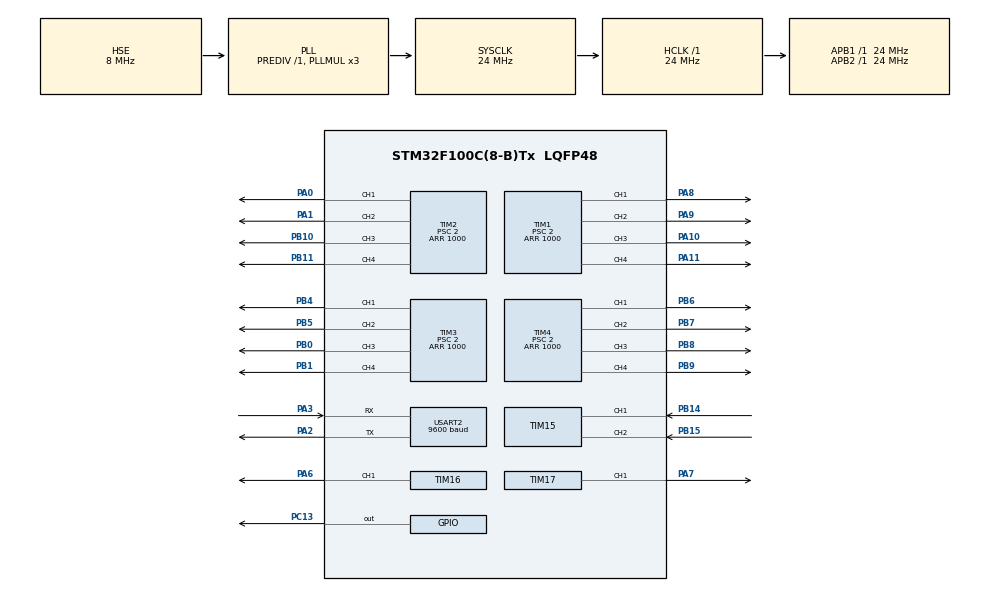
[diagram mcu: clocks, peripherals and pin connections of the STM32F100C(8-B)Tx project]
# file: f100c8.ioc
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Dma.Request0=USART2_RX
Dma.Request1=USART2_TX
Dma.USART2_RX.0.Direction=DMA_PERIPH_TO_MEMORY
Dma.USART2_RX.0.Instance=DMA1_Channel6
Dma.USART2_RX.0.MemDataAlignment=DMA_MDATAALIGN_BYTE
Dma.USART2_RX.0.MemInc=DMA_MINC_ENABLE
Dma.USART2_RX.0.Mode=DMA_NORMAL
Dma.USART2_RX.0.PeriphDataAlignment=DMA_PDATAALIGN_BYTE
Dma.USART2_RX.0.PeriphInc=DMA_PINC_DISABLE
Dma.USART2_RX.0.Priority=DMA_PRIORITY_LOW
Dma.USART2_TX.1.Direction=DMA_MEMORY_TO_PERIPH
Dma.USART2_TX.1.Instance=DMA1_Channel7
Dma.USART2_TX.1.MemDataAlignment=DMA_MDATAALIGN_BYTE
Dma.USART2_TX.1.MemInc=DMA_MINC_ENABLE
Dma.USART2_TX.1.Mode=DMA_NORMAL
Dma.USART2_TX.1.PeriphDataAlignment=DMA_PDATAALIGN_BYTE
Dma.USART2_TX.1.PeriphInc=DMA_PINC_DISABLE
Dma.USART2_TX.1.Priority=DMA_PRIORITY_LOW
Mcu.Family=STM32F1
Mcu.Name=STM32F100C(8-B)Tx
Mcu.Package=LQFP48
NVIC.DMA1_Channel6_IRQn=true\:0\:0\:false\:false\:true\:false\:true\:true
NVIC.DMA1_Channel7_IRQn=true\:0\:0\:false\:false\:true\:false\:true\:true
NVIC.PriorityGroup=NVIC_PRIORITYGROUP_4
NVIC.TIM6_DAC_IRQn=true\:0\:0\:false\:false\:true\:true\:true\:true
NVIC.USART2_IRQn=true\:0\:0\:false\:false\:true\:true\:true\:true
PA0-WKUP.Signal=S_TIM2_CH1_ETR
PA1.Signal=S_TIM2_CH2
PA10.Signal=S_TIM1_CH3
PA11.Signal=S_TIM1_CH4
PA13.Mode=Serial_Wire
PA13.Signal=SYS_JTMS-SWDIO
PA14.Mode=Serial_Wire
PA14.Signal=SYS_JTCK-SWCLK
PA2.Mode=Asynchronous
PA2.Signal=USART2_TX
PA3.Mode=Asynchronous
PA3.Signal=USART2_RX
PA6.Signal=S_TIM16_CH1
PA7.Signal=S_TIM17_CH1
PA8.Signal=S_TIM1_CH1
PA9.Signal=S_TIM1_CH2
PB0.Signal=S_TIM3_CH3
PB1.Signal=S_TIM3_CH4
PB10.Signal=S_TIM2_CH3
PB11.Signal=S_TIM2_CH4
PB14.Signal=S_TIM15_CH1
PB15.Signal=S_TIM15_CH2
PB4.Signal=S_TIM3_CH1
PB5.Signal=S_TIM3_CH2
PB6.Signal=S_TIM4_CH1
PB7.Signal=S_TIM4_CH2
PB8.Signal=S_TIM4_CH3
PB9.Signal=S_TIM4_CH4
PC13-TAMPER-RTC.Signal=GPIO_Output
PD0-OSC_IN.Mode=HSE-External-Oscillator
PD0-OSC_IN.Signal=RCC_OSC_IN
PD1-OSC_OUT.Mode=HSE-External-Oscillator
PD1-OSC_OUT.Signal=RCC_OSC_OUT
ProjectManager.HeapSize=0x200
ProjectManager.StackSize=0x400
ProjectManager.TargetToolchain=STM32CubeIDE
RCC.AHBFreq_Value=24000000
RCC.APB1Freq_Value=24000000
RCC.APB1TimFreq_Value=24000000
RCC.APB2Freq_Value=24000000
RCC.APB2TimFreq_Value=24000000
RCC.HCLKFreq_Value=24000000
RCC.PLLMUL=RCC_PLL_MUL3
RCC.PLLSource=RCC_PLLSOURCE_HSE
RCC.SYSCLKFreq_VALUE=24000000
RCC.SYSCLKSource=RCC_SYSCLKSOURCE_PLLCLK
SH.S_TIM15_CH1.0=TIM15_CH1,Input_Capture1_from_TI1
SH.S_TIM15_CH2.0=TIM15_CH2,Input_Capture2_from_TI2
SH.S_TIM16_CH1.0=TIM16_CH1,PWM Generation1 CH1
SH.S_TIM17_CH1.0=TIM17_CH1,PWM Generation1 CH1
SH.S_TIM1_CH1.0=TIM1_CH1,PWM Generation1 CH1
SH.S_TIM1_CH2.0=TIM1_CH2,PWM Generation2 CH2
SH.S_TIM1_CH3.0=TIM1_CH3,PWM Generation3 CH3
SH.S_TIM1_CH4.0=TIM1_CH4,PWM Generation4 CH4
SH.S_TIM2_CH1_ETR.0=TIM2_CH1,PWM Generation1 CH1
SH.S_TIM2_CH2.0=TIM2_CH2,PWM Generation2 CH2
SH.S_TIM2_CH3.0=TIM2_CH3,PWM Generation3 CH3
SH.S_TIM2_CH4.0=TIM2_CH4,PWM Generation4 CH4
SH.S_TIM3_CH1.0=TIM3_CH1,PWM Generation1 CH1
SH.S_TIM3_CH2.0=TIM3_CH2,PWM Generation2 CH2
SH.S_TIM3_CH3.0=TIM3_CH3,PWM Generation3 CH3
SH.S_TIM3_CH4.0=TIM3_CH4,PWM Generation4 CH4
SH.S_TIM4_CH1.0=TIM4_CH1,PWM Generation1 CH1
SH.S_TIM4_CH2.0=TIM4_CH2,PWM Generation2 CH2
SH.S_TIM4_CH3.0=TIM4_CH3,PWM Generation3 CH3
SH.S_TIM4_CH4.0=TIM4_CH4,PWM Generation4 CH4
TIM1.Channel-PWM\ Generation1\ CH1=TIM_CHANNEL_1
TIM1.Channel-PWM\ Generation2\ CH2=TIM_CHANNEL_2
TIM1.Channel-PWM\ Generation3\ CH3=TIM_CHANNEL_3
TIM1.Channel-PWM\ Generation4\ CH4=TIM_CHANNEL_4
TIM1.Period=1000
TIM1.Prescaler=2
TIM15.Channel-Input_Capture1_from_TI1=TIM_CHANNEL_1
TIM15.Channel-Input_Capture2_from_TI2=TIM_CHANNEL_2
TIM16.Channel=TIM_CHANNEL_1
TIM16.Period=1000
TIM16.Prescaler=2
TIM17.Channel=TIM_CHANNEL_1
TIM17.Period=1000
TIM17.Prescaler=2
TIM2.Channel-PWM\ Generation1\ CH1=TIM_CHANNEL_1
TIM2.Channel-PWM\ Generation2\ CH2=TIM_CHANNEL_2
TIM2.Channel-PWM\ Generation3\ CH3=TIM_CHANNEL_3
TIM2.Channel-PWM\ Generation4\ CH4=TIM_CHANNEL_4
TIM2.Period=1000
TIM2.Prescaler=2
TIM3.Channel-PWM\ Generation1\ CH1=TIM_CHANNEL_1
TIM3.Channel-PWM\ Generation2\ CH2=TIM_CHANNEL_2
TIM3.Channel-PWM\ Generation3\ CH3=TIM_CHANNEL_3
TIM3.Channel-PWM\ Generation4\ CH4=TIM_CHANNEL_4
TIM3.Period=1000
TIM3.Prescaler=2
TIM4.Channel-PWM\ Generation1\ CH1=TIM_CHANNEL_1
TIM4.Channel-PWM\ Generation2\ CH2=TIM_CHANNEL_2
TIM4.Channel-PWM\ Generation3\ CH3=TIM_CHANNEL_3
TIM4.Channel-PWM\ Generation4\ CH4=TIM_CHANNEL_4
TIM4.Period=1000
TIM4.Prescaler=2
TIM6.Period=63999
TIM6.Prescaler=374
USART2.BaudRate=9600
USART2.VirtualMode=VM_ASYNC
VP_TIM16_VS_ClockSourceINT.Mode=Enable_Timer
VP_TIM17_VS_ClockSourceINT.Mode=Enable_Timer
VP_TIM1_VS_ClockSourceINT.Mode=Internal
VP_TIM6_VS_ClockSourceINT.Mode=Enable_Timer
board=custom

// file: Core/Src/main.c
/* USER CODE BEGIN Header */
/**
  ******************************************************************************
  * @file           : main.c
  * @brief          : Main program body
  ******************************************************************************
  * @attention
  *
  * Copyright (c) 2023 STMicroelectronics.
  * All rights reserved.
  *
  * This software is licensed under terms that can be found in the LICENSE file
  * in the root directory of this software component.
  * If no LICENSE file comes with this software, it is provided AS-IS.
  *
  ******************************************************************************
  */
/* USER CODE END Header */
#include "main.h"

/* USER CODE BEGIN Includes */
#include "Programs.h"
#include "string.h"
#include "stdio.h"
/* USER CODE END Includes */

/* USER CODE BEGIN PTD */

int a1,a2,a3;
 uint16_t tempduty=0,motorduty=0;
uint16_t timerx=0,alarmt=0,timer,sa;
uint16_t total_time=0;
uint8_t start=0,saniye,dakika,saat;
extern stopf;

Control ms;
Control mst;

uint16_t isi=0;
uint16_t hız=0;
uint16_t darbes=0;
uint16_t darber=0;
uint8_t pFlag=0;
uint8_t delay1=0;
uint8_t delay2=0;

#define RxBuffer_Size1 10
#define RxBuffer_Size 60
uint8_t RxBuf [RxBuffer_Size];
uint8_t RxBuf1 [RxBuffer_Size1];

/* USER CODE END PTD */
char str[80];

TIM_HandleTypeDef htim1;
TIM_HandleTypeDef htim2;
TIM_HandleTypeDef htim3;
TIM_HandleTypeDef htim4;
TIM_HandleTypeDef htim6;
TIM_HandleTypeDef htim15;
TIM_HandleTypeDef htim16;
TIM_HandleTypeDef htim17;

UART_HandleTypeDef huart2;
DMA_HandleTypeDef hdma_usart2_rx;
DMA_HandleTypeDef hdma_usart2_tx;

/* USER CODE BEGIN PV */

#ifdef __GNUC__
#define PUTCHAR_PROTOTYPE int __io_putchar(int ch)
#else
#define PUTCHAR_PROTOTYPE int fputc(int ch, FILE *f)
#endif

/* USER CODE END PV */

void SystemClock_Config(void);
static void MX_GPIO_Init(void);
static void MX_DMA_Init(void);
static void MX_TIM1_Init(void);
static void MX_TIM2_Init(void);
static void MX_TIM3_Init(void);
static void MX_TIM4_Init(void);
static void MX_TIM15_Init(void);
static void MX_TIM16_Init(void);
static void MX_TIM17_Init(void);
static void MX_USART2_UART_Init(void);
static void MX_TIM6_Init(void);
/* USER CODE BEGIN PFP */

PUTCHAR_PROTOTYPE
{
  HAL_UART_Transmit(&huart2, (uint8_t *)&ch, 1,HAL_MAX_DELAY);
  return ch;
}
/* USER CODE END PFP */

/* USER CODE BEGIN 0 */

void HAL_UARTEx_RxEventCallback(UART_HandleTypeDef *huart, uint16_t Size){

 if (huart-> Instance==USART2) {

		  HAL_UARTEx_ReceiveToIdle_DMA(&huart2, RxBuf, RxBuffer_Size);
		  __HAL_DMA_DISABLE_IT(&hdma_usart2_rx,DMA_IT_HT); //Buffer alınırken yarıda kesmeye gitmesin diyeyapılmış işlemi.

		    for (int i  = Size;  i<RxBuffer_Size; i++ ) { //BUFFER ESKİLERİ SİLME
		  				   			  RxBuf[i]=0;	}
 }

 if (RxBuf[0]=='M' && RxBuf[1]=='D'){
	 selectmotorduty();
	 RxBuf[0]=0;
	 RxBuf[1]=0;
	 RxBuf[2]=0;
	HAL_UART_Transmit_DMA(&huart2, "OK\n\r", 4);
	printf("Motor Speed=%d",motorduty);

 }

if (RxBuf[0]=='T' && RxBuf[1]=='D'){
		 selecttempduty();
		  RxBuf[0]=0;
		  RxBuf[1]=0;
		  RxBuf[2]=0;
		HAL_UART_Transmit_DMA(&huart2, "OK\n\r", 4);
		printf("Motor Speed=%d",tempduty);
}

}

void HAL_TIM_PeriodElapsedCallback(TIM_HandleTypeDef *htim)
{
	if(htim->Instance==htim6.Instance){
		timerx++;

     if(start==1)
	    {
    	 pFlag=0;
	      timer--;

		    if(timer==0)
			    {
			              timer=0 ;
			              start=0;
			    }
		    printf("Kalan süre= %d\n", timer);
	    }

     if(pFlag==1)
	    {
    	  start=2;
	      timer--;

		    if(timer==0)
			    {
			              timer=0;
			              pFlag=0;
			    }
		    sprintf(str, "Kalan süre= %d\n", timer);
		    HAL_UART_Transmit_DMA(&huart2, str, strlen(str));

	    }

    }

}

void programselected(){

	 // motor seçimi
	 uint16_t amask=0b1110000000000000;
	 uint16_t amast=0b0001111111111111;
	 a1 =RxBuf[2];
	 a1=a1<<8;
	 a1=a1+RxBuf[3];
	 ms.MotorSayi=a1 & amast;  //sadece motor kontroll değişkneleri
	 mst.MotorSayi=a1 & amask; //sadece ısıtıcı değişkenleri

	  if(RxBuf[4]==0){
		  a2=0;
	  }
	  else if(RxBuf[4]==1) {
		  a2=500;
	  } else if(RxBuf[4]==2) {
		  a2=550;
	  } else if(RxBuf[4]==3) {
		  a2=600;
	  } else if(RxBuf[4]==4) {
		  a2=700;
	  } else if(RxBuf[4]==5) {
		  a2=750;
	  }   else if(RxBuf[4]==6) {
		  a2=800;
	  }    else if(RxBuf[4]==6) {
		  a2=850;
	  }    else if(RxBuf[4]==8) {
		  a2=900;
	  }   else if(RxBuf[4]==9) {
		  a2=950;
	  }    else if(RxBuf[4]==10) {
		  a2=1000;
	  }
	  else  ;

	  if(RxBuf[5]==0){
		  a3=0;
	  }
	  else if(RxBuf[5]==1) {
		  a3=500;
	  } else if(RxBuf[5]==2) {
		  a3=550;
	  } else if(RxBuf[5]==3) {
		  a3=600;
	  } else if(RxBuf[5]==4) {
		  a3=700;
	  } else if(RxBuf[5]==5) {
		  a3=750;
	  }   else if(RxBuf[5]==6) {
		  a3=800;
	  }    else if(RxBuf[5]==6) {
		  a3=850;
	  }    else if(RxBuf[5]==8) {
		  a3=900;
	  }   else if(RxBuf[5]==9) {
		  a3=950;
	  }    else if(RxBuf[5]==10) {
		  a3=1000;
	  }
	  else  ;

	  //------------------------------------ Delayed Seçimileri---------------------------------/
	  if(RxBuf[7]==0){
		 delay1=0;
		 delay2=0;
	  }
	  else if(RxBuf[7]==1) {
			 delay1=1;
			 delay2=1;
	  } else if(RxBuf[7]==2) {
			 delay1=2;
			 delay2=2;
	  } else if(RxBuf[7]==3) {
			 delay1=1;
			 delay2=4;
	  } else if(RxBuf[7]==4) {
			 delay1=1;
			 delay2=3;
	  } else if(RxBuf[7]==5) {
			 delay1=1;
			 delay2=2;
	  }   else if(RxBuf[7]==6) {
			 delay1=0;
			 delay2=0;
	  }    else if(RxBuf[7]==6) {
			 delay1=0;
			 delay2=0;
	  }    else if(RxBuf[7]==8) {
			 delay1=0;
			 delay2=0;
	  }   else if(RxBuf[7]==9) {
			 delay1=0;
			 delay2=0;
	  }    else if(RxBuf[7]==10) {
			 delay1=0;
			 delay2=0;
	  }
	  else  ;

	 ms.MotorDuty=a2;
	 mst.TempDuty=a3;
	 Pwm_Start(mst);
     Pwm_Start(ms);

}

void standarprgslctd(){

		  if(RxBuf[8]==0){                 //motorlar için duty seçimi
			  motorduty=0;
		  }
		  else if(RxBuf[8]==1) {
			  motorduty=500;
		  } else if(RxBuf[8]==2) {
			  motorduty=550;
		  } else if(RxBuf[8]==3) {
			  motorduty=600;
		  } else if(RxBuf[8]==4) {
			  motorduty=700;
		  } else if(RxBuf[8]==5) {
			  motorduty=750;
		  } else if(RxBuf[8]==6) {
			  motorduty=800;
		  } else if(RxBuf[8]==7) {
			  motorduty=850;
		  } else if(RxBuf[8]==8) {
			  motorduty=900;
		  } else if(RxBuf[8]==9) {
			  motorduty=950;
		  } else if(RxBuf[8]==10) {
			  motorduty=1000;
		  }
		  else {
			  motorduty=500;
		  }

		  if(RxBuf[9]==0){                  //Isıstıcı için duty seçimi
		 				  tempduty=0;
		 			  }
		 			    else if(RxBuf[9]==1) {
		 				  tempduty=500;
		 			  } else if(RxBuf[9]==2) {
		 				  tempduty=550;
		 			  } else if(RxBuf[9]==3) {
		 				  tempduty=600;
		 			  } else if(RxBuf[9]==4) {
		 				  tempduty=700;
		 			  } else if(RxBuf[9]==5) {
		 				  tempduty=750;
		 			  } else if(RxBuf[9]==6) {
		 				  tempduty=800;
		 			  } else if(RxBuf[9]==7) {
		 				  tempduty=850;
		 			  } else if(RxBuf[9]==8) {
		 				  tempduty=900;
		 			  } else if(RxBuf[9]==9) {
		 				  tempduty=950;
		 			  } else if(RxBuf[9]==10) {
		 				  tempduty=1000;
		 			  }
		 		   else{
		 			     tempduty=500;
		 			  }

}

void selectmotorduty(){

	  if(RxBuf[2]==0){                 //motorlar için duty seçimi
		  motorduty=0;
	  }
	  else if(RxBuf[2]==1) {
		  motorduty=500;
	  } else if(RxBuf[2]==2) {
		  motorduty=550;
	  } else if(RxBuf[2]==3) {
		  motorduty=600;
	  } else if(RxBuf[2]==4) {
		  motorduty=700;
	  } else if(RxBuf[2]==5) {
		  motorduty=750;
	  } else if(RxBuf[2]==6) {
		  motorduty=800;
	  } else if(RxBuf[2]==7) {
		  motorduty=850;
	  } else if(RxBuf[2]==8) {
		  motorduty=900;
	  } else if(RxBuf[2]==9) {
		  motorduty=950;
	  } else if(RxBuf[2]==10) {
		  motorduty=1000;
	  }
	  else {
		  motorduty=500;
	  }
	  printf("Motor char=%d",RxBuf[2]);

}

void selecttempduty(){
	 if(RxBuf[2]==0){                  //Isıstıcı için duty seçimi
				  tempduty=0;
			  }
			    else if(RxBuf[2]==1) {
				  tempduty=500;
			  } else if(RxBuf[2]==2) {
				  tempduty=550;
			  } else if(RxBuf[2]==3) {
				  tempduty=600;
			  } else if(RxBuf[2]==4) {
				  tempduty=700;
			  } else if(RxBuf[2]==5) {
				  tempduty=750;
			  } else if(RxBuf[2]==6) {
				  tempduty=800;
			  } else if(RxBuf[2]==7) {
				  tempduty=850;
			  } else if(RxBuf[2]==8) {
				  tempduty=900;
			  } else if(RxBuf[2]==9) {
				  tempduty=950;
			  } else if(RxBuf[2]==10) {
				  tempduty=1000;
			  }
		   else{
			     tempduty=500;
			  }

}

void standart(){

	 //dogrulma komutu ve timer sıfırlama...
		  if(RxBuf[0]=='R' && RxBuf[1]=='S'&& RxBuf[2]=='T')
		  { RxBuf[0]=0;
		    RxBuf[1]=0;
		    RxBuf[2]=0;
		    timerx=0;
		    pFlag=0;
		    HAL_UART_Transmit_DMA(&huart2, "OK\n\r", 4);
		  }

		  //Tüm sistemi durdurma...
		  if(RxBuf[0]=='S' && RxBuf[1]=='T'&& RxBuf[2]=='P')
		 	  {
			   stop:
		 	   start=0;
		 	   timer=0;
			   HAL_UART_Transmit_DMA(&huart2, "OK\n\r", 4);
			   a1=0b1111111111111111;  //Tüm sistem pin seçildi
		 	   a2=0;                   //duty sıfırlandı
		 	   ms.MotorSayi=a1;
		 	   ms.MotorDuty=a2;
		 	   ms.TempDuty=a2;
		 	   Pwm_Start(ms);

		 	   pFlag=0;
		 	   timerx=0;

		 	   RxBuf[0]=0;
		 	   RxBuf[1]=0;
		 	   RxBuf[2]=0;

		 	 }

		  //Tüm sistemi aktif test...
		  if(RxBuf[0]=='T' && RxBuf[1]=='S'&& RxBuf[2]=='1')
		 	  {
			    RxBuf[0]=0;
			    RxBuf[1]=0;
			    RxBuf[2]=0;

			   a1=0b1111111111111111;  //Tüm sistem pin seçildi
		 	   a2=700;                   //duty sıfırlandı
		 	   ms.MotorSayi=a1;
		 	   ms.MotorDuty=a2;
		 	   ms.TempDuty=a2;
		 	   Pwm_Start(ms);
		 	   //pFlag=0;
		 	   timerx=0;
		 	   HAL_UART_Transmit_DMA(&huart2, "OK\n\r", 4);

		 	   }
		  //Tüm sistemi aktif test2...
		  if(RxBuf[0]=='T' && RxBuf[1]=='S'&& RxBuf[2]=='2')
		 	  {
			    RxBuf[0]=0;
			    RxBuf[1]=0;
			    RxBuf[2]=0;

			   a1=0b1111111111111111;  //Tüm sistem pin seçildi
		 	   a2=1000;                   //duty sıfırlandı
		 	   ms.MotorSayi=a1;
			   ms.MotorDuty=a2;
			   ms.TempDuty=a2;
		 	   Pwm_Start(ms);
		 	  //pFlag=0;
		 	   timerx=0;
		 	   HAL_UART_Transmit_DMA(&huart2, "OK\n\r", 4);

		 	   }
		  //Tüm sistemi aktif test3...
		  if(RxBuf[0]=='T' && RxBuf[1]=='S'&& RxBuf[2]=='3')
		 	  {
			    RxBuf[0]=0;
			    RxBuf[1]=0;
			    RxBuf[2]=0;

			   a1=0b0001111111111111;  //Tüm sistem pin seçildi
		 	   a2=1000;                   //duty sıfırlandı
		 	   ms.MotorSayi=a1;
			   ms.MotorDuty=a2;
			   ms.TempDuty=a2;
		 	   Pwm_Start(ms);
		 	   //pFlag=0;
		 	   timerx=0;
		 	   HAL_UART_Transmit_DMA(&huart2, "OK\n\r", 4);

		 	   }

}

/* USER CODE END 0 */

int main(void)
{

  /* MCU Configuration--------------------------------------------------------*/

  /* Reset of all peripherals, Initializes the Flash interface and the Systick. */

HAL_Init();

  /* Configure the system clock */
  SystemClock_Config();

  /* Initialize all configured peripherals */
  MX_GPIO_Init();
  MX_DMA_Init();
  MX_TIM1_Init();
  MX_TIM2_Init();
  MX_TIM3_Init();
  MX_TIM4_Init();
  MX_TIM15_Init();
  MX_TIM16_Init();
  MX_TIM17_Init();
  MX_USART2_UART_Init();
  MX_TIM6_Init();
  /* USER CODE BEGIN 2 */
  HAL_UARTEx_ReceiveToIdle_DMA(&huart2, RxBuf, RxBuffer_Size);
  __HAL_DMA_DISABLE_IT(&hdma_usart2_rx,DMA_IT_HT);
  HAL_TIM_Base_Start_IT(&htim6);

  HAL_TIM_PWM_Start(&htim1,TIM_CHANNEL_1);
  HAL_TIM_PWM_Start(&htim1,TIM_CHANNEL_2);
  HAL_TIM_PWM_Start(&htim1,TIM_CHANNEL_3);
  HAL_TIM_PWM_Start(&htim1,TIM_CHANNEL_4);

  HAL_TIM_PWM_Start(&htim2,TIM_CHANNEL_1);
  HAL_TIM_PWM_Start(&htim2,TIM_CHANNEL_2);
  HAL_TIM_PWM_Start(&htim2,TIM_CHANNEL_3);
  HAL_TIM_PWM_Start(&htim2,TIM_CHANNEL_4);

  HAL_TIM_PWM_Start(&htim3,TIM_CHANNEL_1);
  HAL_TIM_PWM_Start(&htim3,TIM_CHANNEL_2);
  HAL_TIM_PWM_Start(&htim3,TIM_CHANNEL_3);
  HAL_TIM_PWM_Start(&htim3,TIM_CHANNEL_4);

  HAL_TIM_PWM_Start(&htim4,TIM_CHANNEL_1);
  HAL_TIM_PWM_Start(&htim4,TIM_CHANNEL_2);
  HAL_TIM_PWM_Start(&htim4,TIM_CHANNEL_3);
  HAL_TIM_PWM_Start(&htim4,TIM_CHANNEL_4);

  HAL_TIM_PWM_Start(&htim15,TIM_CHANNEL_1);
  HAL_TIM_PWM_Start(&htim15,TIM_CHANNEL_2);
  HAL_TIM_PWM_Start(&htim16,TIM_CHANNEL_1);
  HAL_TIM_PWM_Start(&htim17,TIM_CHANNEL_1);

  pinit();

  a1=0b1111111111111111; //motor sayıları için pwm

  a2=400;
  a3=0;

  ms.MotorSayi=a1;
  ms.MotorDuty=a2;

  /* USER CODE END 2 */

  /* Infinite loop */
  /* USER CODE BEGIN WHILE */
  while (1)
  {
	  standart();

	     //----------------------------------Dahili programları çalıştırma-------------------------------//
            //RX[0] VE RX[1]  Kontrol
	        //RX[2] RX[3] RX[4]//PRG SEÇME
	        //RX[5] //Selected
	        //RX[6] RX[7]// timer saniye
	        //RX[8] RX[9]// mduty temp duty

	  if(RxBuf[0]=='P' && RxBuf[1]=='R')
		   {
		     HAL_UART_Transmit_DMA(&huart2, "OK\n", 3);
		     RxBuf[0]=0;
		     RxBuf[1]=0;

		     timer=RxBuf[6];
		     timer=timer << 8;
		     timer=timer | 0xF0 & RxBuf[7];
		     timer=timer+2;

		     HAL_Delay(10);
             total_time=timer;
		     start=1;
		     printf("Program total time(saniye)=%d\n\r",total_time);
		     standarprgslctd(); //dutyseçimi

		   }

	    if(start==1){
	    	if(total_time>10){
	    	 program(total_time);

	    	}else start=0;

	    }else if (start==0)
	    {
	    	     a1=0b1111111111111111;  //Tüm sistem pin seçildi
	    		 a2=0;                   //duty sıfırlandı
	    		 ms.MotorSayi=a1;
	    		 ms.MotorDuty=a2;
	    		 ms.TempDuty=a2;
	    		 Pwm_Start(ms);
	    		 HAL_UART_Transmit_DMA(&huart2, "PRG OK\n\r", 8);
	    		 start=2;
	    }else{

	    }

      HAL_Delay(40);
      HAL_GPIO_TogglePin(GPIOC, GPIO_PIN_13);

    /* USER CODE END WHILE */

  }
}

void SystemClock_Config(void)
{
  RCC_OscInitTypeDef RCC_OscInitStruct = {0};
  RCC_ClkInitTypeDef RCC_ClkInitStruct = {0};

  /** Initializes the RCC Oscillators according to the specified parameters
  * in the RCC_OscInitTypeDef structure.
  */
  RCC_OscInitStruct.OscillatorType = RCC_OSCILLATORTYPE_HSE;
  RCC_OscInitStruct.HSEState = RCC_HSE_ON;
  RCC_OscInitStruct.HSEPredivValue = RCC_HSE_PREDIV_DIV1;
  RCC_OscInitStruct.PLL.PLLState = RCC_PLL_ON;
  RCC_OscInitStruct.PLL.PLLSource = RCC_PLLSOURCE_HSE;
  RCC_OscInitStruct.PLL.PLLMUL = RCC_PLL_MUL3;
  if (HAL_RCC_OscConfig(&RCC_OscInitStruct) != HAL_OK)
  {
    Error_Handler();
  }

  /** Initializes the CPU, AHB and APB buses clocks
  */
  RCC_ClkInitStruct.ClockType = RCC_CLOCKTYPE_HCLK|RCC_CLOCKTYPE_SYSCLK
                              |RCC_CLOCKTYPE_PCLK1|RCC_CLOCKTYPE_PCLK2;
  RCC_ClkInitStruct.SYSCLKSource = RCC_SYSCLKSOURCE_PLLCLK;
  RCC_ClkInitStruct.AHBCLKDivider = RCC_SYSCLK_DIV1;
  RCC_ClkInitStruct.APB1CLKDivider = RCC_HCLK_DIV1;
  RCC_ClkInitStruct.APB2CLKDivider = RCC_HCLK_DIV1;

  if (HAL_RCC_ClockConfig(&RCC_ClkInitStruct, FLASH_LATENCY_0) != HAL_OK)
  {
    Error_Handler();
  }
}

static void MX_TIM1_Init(void)
{

  TIM_ClockConfigTypeDef sClockSourceConfig = {0};
  TIM_MasterConfigTypeDef sMasterConfig = {0};
  TIM_OC_InitTypeDef sConfigOC = {0};
  TIM_BreakDeadTimeConfigTypeDef sBreakDeadTimeConfig = {0};

  htim1.Instance = TIM1;
  htim1.Init.Prescaler = 2;
  htim1.Init.CounterMode = TIM_COUNTERMODE_UP;
  htim1.Init.Period = 1000;
  htim1.Init.ClockDivision = TIM_CLOCKDIVISION_DIV1;
  htim1.Init.RepetitionCounter = 0;
  htim1.Init.AutoReloadPreload = TIM_AUTORELOAD_PRELOAD_DISABLE;
  if (HAL_TIM_Base_Init(&htim1) != HAL_OK)
  {
    Error_Handler();
  }
  sClockSourceConfig.ClockSource = TIM_CLOCKSOURCE_INTERNAL;
  if (HAL_TIM_ConfigClockSource(&htim1, &sClockSourceConfig) != HAL_OK)
  {
    Error_Handler();
  }
  if (HAL_TIM_PWM_Init(&htim1) != HAL_OK)
  {
    Error_Handler();
  }
  sMasterConfig.MasterOutputTrigger = TIM_TRGO_RESET;
  sMasterConfig.MasterSlaveMode = TIM_MASTERSLAVEMODE_DISABLE;
  if (HAL_TIMEx_MasterConfigSynchronization(&htim1, &sMasterConfig) != HAL_OK)
  {
    Error_Handler();
  }
  sConfigOC.OCMode = TIM_OCMODE_PWM1;
  sConfigOC.Pulse = 0;
  sConfigOC.OCPolarity = TIM_OCPOLARITY_HIGH;
  sConfigOC.OCNPolarity = TIM_OCNPOLARITY_HIGH;
  sConfigOC.OCFastMode = TIM_OCFAST_DISABLE;
  sConfigOC.OCIdleState = TIM_OCIDLESTATE_RESET;
  sConfigOC.OCNIdleState = TIM_OCNIDLESTATE_RESET;
  if (HAL_TIM_PWM_ConfigChannel(&htim1, &sConfigOC, TIM_CHANNEL_1) != HAL_OK)
  {
    Error_Handler();
  }
  if (HAL_TIM_PWM_ConfigChannel(&htim1, &sConfigOC, TIM_CHANNEL_2) != HAL_OK)
  {
    Error_Handler();
  }
  if (HAL_TIM_PWM_ConfigChannel(&htim1, &sConfigOC, TIM_CHANNEL_3) != HAL_OK)
  {
    Error_Handler();
  }
  if (HAL_TIM_PWM_ConfigChannel(&htim1, &sConfigOC, TIM_CHANNEL_4) != HAL_OK)
  {
    Error_Handler();
  }
  sBreakDeadTimeConfig.OffStateRunMode = TIM_OSSR_DISABLE;
  sBreakDeadTimeConfig.OffStateIDLEMode = TIM_OSSI_DISABLE;
  sBreakDeadTimeConfig.LockLevel = TIM_LOCKLEVEL_OFF;
  sBreakDeadTimeConfig.DeadTime = 0;
  sBreakDeadTimeConfig.BreakState = TIM_BREAK_DISABLE;
  sBreakDeadTimeConfig.BreakPolarity = TIM_BREAKPOLARITY_HIGH;
  sBreakDeadTimeConfig.AutomaticOutput = TIM_AUTOMATICOUTPUT_DISABLE;
  if (HAL_TIMEx_ConfigBreakDeadTime(&htim1, &sBreakDeadTimeConfig) != HAL_OK)
  {
    Error_Handler();
  }
  HAL_TIM_MspPostInit(&htim1);

}

static void MX_TIM2_Init(void)
{

  TIM_MasterConfigTypeDef sMasterConfig = {0};
  TIM_OC_InitTypeDef sConfigOC = {0};

  htim2.Instance = TIM2;
  htim2.Init.Prescaler = 2;
  htim2.Init.CounterMode = TIM_COUNTERMODE_UP;
  htim2.Init.Period = 1000;
  htim2.Init.ClockDivision = TIM_CLOCKDIVISION_DIV1;
  htim2.Init.AutoReloadPreload = TIM_AUTORELOAD_PRELOAD_DISABLE;
  if (HAL_TIM_PWM_Init(&htim2) != HAL_OK)
  {
    Error_Handler();
  }
  sMasterConfig.MasterOutputTrigger = TIM_TRGO_RESET;
  sMasterConfig.MasterSlaveMode = TIM_MASTERSLAVEMODE_DISABLE;
  if (HAL_TIMEx_MasterConfigSynchronization(&htim2, &sMasterConfig) != HAL_OK)
  {
    Error_Handler();
  }
  sConfigOC.OCMode = TIM_OCMODE_PWM1;
  sConfigOC.Pulse = 0;
  sConfigOC.OCPolarity = TIM_OCPOLARITY_HIGH;
  sConfigOC.OCFastMode = TIM_OCFAST_DISABLE;
  if (HAL_TIM_PWM_ConfigChannel(&htim2, &sConfigOC, TIM_CHANNEL_1) != HAL_OK)
  {
    Error_Handler();
  }
  if (HAL_TIM_PWM_ConfigChannel(&htim2, &sConfigOC, TIM_CHANNEL_2) != HAL_OK)
  {
    Error_Handler();
  }
  if (HAL_TIM_PWM_ConfigChannel(&htim2, &sConfigOC, TIM_CHANNEL_3) != HAL_OK)
  {
    Error_Handler();
  }
  if (HAL_TIM_PWM_ConfigChannel(&htim2, &sConfigOC, TIM_CHANNEL_4) != HAL_OK)
  {
    Error_Handler();
  }
  HAL_TIM_MspPostInit(&htim2);

}

static void MX_TIM3_Init(void)
{

  TIM_MasterConfigTypeDef sMasterConfig = {0};
  TIM_OC_InitTypeDef sConfigOC = {0};

  htim3.Instance = TIM3;
  htim3.Init.Prescaler = 2;
  htim3.Init.CounterMode = TIM_COUNTERMODE_UP;
  htim3.Init.Period = 1000;
  htim3.Init.ClockDivision = TIM_CLOCKDIVISION_DIV1;
  htim3.Init.AutoReloadPreload = TIM_AUTORELOAD_PRELOAD_DISABLE;
  if (HAL_TIM_PWM_Init(&htim3) != HAL_OK)
  {
    Error_Handler();
  }
  sMasterConfig.MasterOutputTrigger = TIM_TRGO_RESET;
  sMasterConfig.MasterSlaveMode = TIM_MASTERSLAVEMODE_DISABLE;
  if (HAL_TIMEx_MasterConfigSynchronization(&htim3, &sMasterConfig) != HAL_OK)
  {
    Error_Handler();
  }
  sConfigOC.OCMode = TIM_OCMODE_PWM1;
  sConfigOC.Pulse = 0;
  sConfigOC.OCPolarity = TIM_OCPOLARITY_HIGH;
  sConfigOC.OCFastMode = TIM_OCFAST_DISABLE;
  if (HAL_TIM_PWM_ConfigChannel(&htim3, &sConfigOC, TIM_CHANNEL_1) != HAL_OK)
  {
    Error_Handler();
  }
  if (HAL_TIM_PWM_ConfigChannel(&htim3, &sConfigOC, TIM_CHANNEL_2) != HAL_OK)
  {
    Error_Handler();
  }
  if (HAL_TIM_PWM_ConfigChannel(&htim3, &sConfigOC, TIM_CHANNEL_3) != HAL_OK)
  {
    Error_Handler();
  }
  if (HAL_TIM_PWM_ConfigChannel(&htim3, &sConfigOC, TIM_CHANNEL_4) != HAL_OK)
  {
    Error_Handler();
  }
  HAL_TIM_MspPostInit(&htim3);

}

static void MX_TIM4_Init(void)
{

  TIM_MasterConfigTypeDef sMasterConfig = {0};
  TIM_OC_InitTypeDef sConfigOC = {0};

  htim4.Instance = TIM4;
  htim4.Init.Prescaler = 2;
  htim4.Init.CounterMode = TIM_COUNTERMODE_UP;
  htim4.Init.Period = 1000;
  htim4.Init.ClockDivision = TIM_CLOCKDIVISION_DIV1;
  htim4.Init.AutoReloadPreload = TIM_AUTORELOAD_PRELOAD_DISABLE;
  if (HAL_TIM_PWM_Init(&htim4) != HAL_OK)
  {
    Error_Handler();
  }
  sMasterConfig.MasterOutputTrigger = TIM_TRGO_RESET;
  sMasterConfig.MasterSlaveMode = TIM_MASTERSLAVEMODE_DISABLE;
  if (HAL_TIMEx_MasterConfigSynchronization(&htim4, &sMasterConfig) != HAL_OK)
  {
    Error_Handler();
  }
  sConfigOC.OCMode = TIM_OCMODE_PWM1;
  sConfigOC.Pulse = 0;
  sConfigOC.OCPolarity = TIM_OCPOLARITY_HIGH;
  sConfigOC.OCFastMode = TIM_OCFAST_DISABLE;
  if (HAL_TIM_PWM_ConfigChannel(&htim4, &sConfigOC, TIM_CHANNEL_1) != HAL_OK)
  {
    Error_Handler();
  }
  if (HAL_TIM_PWM_ConfigChannel(&htim4, &sConfigOC, TIM_CHANNEL_2) != HAL_OK)
  {
    Error_Handler();
  }
  if (HAL_TIM_PWM_ConfigChannel(&htim4, &sConfigOC, TIM_CHANNEL_3) != HAL_OK)
  {
    Error_Handler();
  }
  if (HAL_TIM_PWM_ConfigChannel(&htim4, &sConfigOC, TIM_CHANNEL_4) != HAL_OK)
  {
    Error_Handler();
  }
  HAL_TIM_MspPostInit(&htim4);

}

static void MX_TIM6_Init(void)
{

  TIM_MasterConfigTypeDef sMasterConfig = {0};

  htim6.Instance = TIM6;
  htim6.Init.Prescaler = 374;
  htim6.Init.CounterMode = TIM_COUNTERMODE_UP;
  htim6.Init.Period = 63999;
  htim6.Init.AutoReloadPreload = TIM_AUTORELOAD_PRELOAD_DISABLE;
  if (HAL_TIM_Base_Init(&htim6) != HAL_OK)
  {
    Error_Handler();
  }
  sMasterConfig.MasterOutputTrigger = TIM_TRGO_RESET;
  sMasterConfig.MasterSlaveMode = TIM_MASTERSLAVEMODE_DISABLE;
  if (HAL_TIMEx_MasterConfigSynchronization(&htim6, &sMasterConfig) != HAL_OK)
  {
    Error_Handler();
  }

}

static void MX_TIM15_Init(void)
{

  TIM_MasterConfigTypeDef sMasterConfig = {0};
  TIM_IC_InitTypeDef sConfigIC = {0};

  htim15.Instance = TIM15;
  htim15.Init.Prescaler = 0;
  htim15.Init.CounterMode = TIM_COUNTERMODE_UP;
  htim15.Init.Period = 65535;
  htim15.Init.ClockDivision = TIM_CLOCKDIVISION_DIV1;
  htim15.Init.RepetitionCounter = 0;
  htim15.Init.AutoReloadPreload = TIM_AUTORELOAD_PRELOAD_DISABLE;
  if (HAL_TIM_IC_Init(&htim15) != HAL_OK)
  {
    Error_Handler();
  }
  sMasterConfig.MasterOutputTrigger = TIM_TRGO_RESET;
  sMasterConfig.MasterSlaveMode = TIM_MASTERSLAVEMODE_DISABLE;
  if (HAL_TIMEx_MasterConfigSynchronization(&htim15, &sMasterConfig) != HAL_OK)
  {
    Error_Handler();
  }
  sConfigIC.ICPolarity = TIM_INPUTCHANNELPOLARITY_RISING;
  sConfigIC.ICSelection = TIM_ICSELECTION_DIRECTTI;
  sConfigIC.ICPrescaler = TIM_ICPSC_DIV1;
  sConfigIC.ICFilter = 0;
  if (HAL_TIM_IC_ConfigChannel(&htim15, &sConfigIC, TIM_CHANNEL_1) != HAL_OK)
  {
    Error_Handler();
  }
  if (HAL_TIM_IC_ConfigChannel(&htim15, &sConfigIC, TIM_CHANNEL_2) != HAL_OK)
  {
    Error_Handler();
  }

}

static void MX_TIM16_Init(void)
{

  TIM_OC_InitTypeDef sConfigOC = {0};
  TIM_BreakDeadTimeConfigTypeDef sBreakDeadTimeConfig = {0};

  htim16.Instance = TIM16;
  htim16.Init.Prescaler = 2;
  htim16.Init.CounterMode = TIM_COUNTERMODE_UP;
  htim16.Init.Period = 1000;
  htim16.Init.ClockDivision = TIM_CLOCKDIVISION_DIV1;
  htim16.Init.RepetitionCounter = 0;
  htim16.Init.AutoReloadPreload = TIM_AUTORELOAD_PRELOAD_DISABLE;
  if (HAL_TIM_Base_Init(&htim16) != HAL_OK)
  {
    Error_Handler();
  }
  if (HAL_TIM_PWM_Init(&htim16) != HAL_OK)
  {
    Error_Handler();
  }
  sConfigOC.OCMode = TIM_OCMODE_PWM1;
  sConfigOC.Pulse = 0;
  sConfigOC.OCPolarity = TIM_OCPOLARITY_HIGH;
  sConfigOC.OCNPolarity = TIM_OCNPOLARITY_HIGH;
  sConfigOC.OCFastMode = TIM_OCFAST_DISABLE;
  sConfigOC.OCIdleState = TIM_OCIDLESTATE_RESET;
  sConfigOC.OCNIdleState = TIM_OCNIDLESTATE_RESET;
  if (HAL_TIM_PWM_ConfigChannel(&htim16, &sConfigOC, TIM_CHANNEL_1) != HAL_OK)
  {
    Error_Handler();
  }
  sBreakDeadTimeConfig.OffStateRunMode = TIM_OSSR_DISABLE;
  sBreakDeadTimeConfig.OffStateIDLEMode = TIM_OSSI_DISABLE;
  sBreakDeadTimeConfig.LockLevel = TIM_LOCKLEVEL_OFF;
  sBreakDeadTimeConfig.DeadTime = 0;
  sBreakDeadTimeConfig.BreakState = TIM_BREAK_DISABLE;
  sBreakDeadTimeConfig.BreakPolarity = TIM_BREAKPOLARITY_HIGH;
  sBreakDeadTimeConfig.AutomaticOutput = TIM_AUTOMATICOUTPUT_DISABLE;
  if (HAL_TIMEx_ConfigBreakDeadTime(&htim16, &sBreakDeadTimeConfig) != HAL_OK)
  {
    Error_Handler();
  }
  HAL_TIM_MspPostInit(&htim16);

}

static void MX_TIM17_Init(void)
{

  TIM_OC_InitTypeDef sConfigOC = {0};
  TIM_BreakDeadTimeConfigTypeDef sBreakDeadTimeConfig = {0};

  htim17.Instance = TIM17;
  htim17.Init.Prescaler = 2;
  htim17.Init.CounterMode = TIM_COUNTERMODE_UP;
  htim17.Init.Period = 1000;
  htim17.Init.ClockDivision = TIM_CLOCKDIVISION_DIV1;
  htim17.Init.RepetitionCounter = 0;
  htim17.Init.AutoReloadPreload = TIM_AUTORELOAD_PRELOAD_DISABLE;
  if (HAL_TIM_Base_Init(&htim17) != HAL_OK)
  {
    Error_Handler();
  }
  if (HAL_TIM_PWM_Init(&htim17) != HAL_OK)
  {
    Error_Handler();
  }
  sConfigOC.OCMode = TIM_OCMODE_PWM1;
  sConfigOC.Pulse = 0;
  sConfigOC.OCPolarity = TIM_OCPOLARITY_HIGH;
  sConfigOC.OCNPolarity = TIM_OCNPOLARITY_HIGH;
  sConfigOC.OCFastMode = TIM_OCFAST_DISABLE;
  sConfigOC.OCIdleState = TIM_OCIDLESTATE_RESET;
  sConfigOC.OCNIdleState = TIM_OCNIDLESTATE_RESET;
  if (HAL_TIM_PWM_ConfigChannel(&htim17, &sConfigOC, TIM_CHANNEL_1) != HAL_OK)
  {
    Error_Handler();
  }
  sBreakDeadTimeConfig.OffStateRunMode = TIM_OSSR_DISABLE;
  sBreakDeadTimeConfig.OffStateIDLEMode = TIM_OSSI_DISABLE;
  sBreakDeadTimeConfig.LockLevel = TIM_LOCKLEVEL_OFF;
  sBreakDeadTimeConfig.DeadTime = 0;
  sBreakDeadTimeConfig.BreakState = TIM_BREAK_DISABLE;
  sBreakDeadTimeConfig.BreakPolarity = TIM_BREAKPOLARITY_HIGH;
  sBreakDeadTimeConfig.AutomaticOutput = TIM_AUTOMATICOUTPUT_DISABLE;
  if (HAL_TIMEx_ConfigBreakDeadTime(&htim17, &sBreakDeadTimeConfig) != HAL_OK)
  {
    Error_Handler();
  }
  HAL_TIM_MspPostInit(&htim17);

}

static void MX_USART2_UART_Init(void)
{

  huart2.Instance = USART2;
  huart2.Init.BaudRate = 9600;
  huart2.Init.WordLength = UART_WORDLENGTH_8B;
  huart2.Init.StopBits = UART_STOPBITS_1;
  huart2.Init.Parity = UART_PARITY_NONE;
  huart2.Init.Mode = UART_MODE_TX_RX;
  huart2.Init.HwFlowCtl = UART_HWCONTROL_NONE;
  huart2.Init.OverSampling = UART_OVERSAMPLING_16;
  if (HAL_UART_Init(&huart2) != HAL_OK)
  {
    Error_Handler();
  }

}

static void MX_DMA_Init(void)
{

  /* DMA controller clock enable */
  __HAL_RCC_DMA1_CLK_ENABLE();

  /* DMA interrupt init */
  /* DMA1_Channel6_IRQn interrupt configuration */
  HAL_NVIC_SetPriority(DMA1_Channel6_IRQn, 0, 0);
  HAL_NVIC_EnableIRQ(DMA1_Channel6_IRQn);
  /* DMA1_Channel7_IRQn interrupt configuration */
  HAL_NVIC_SetPriority(DMA1_Channel7_IRQn, 0, 0);
  HAL_NVIC_EnableIRQ(DMA1_Channel7_IRQn);

}

static void MX_GPIO_Init(void)
{
  GPIO_InitTypeDef GPIO_InitStruct = {0};

  /* GPIO Ports Clock Enable */
  __HAL_RCC_GPIOC_CLK_ENABLE();
  __HAL_RCC_GPIOD_CLK_ENABLE();
  __HAL_RCC_GPIOA_CLK_ENABLE();
  __HAL_RCC_GPIOB_CLK_ENABLE();

  /*Configure GPIO pin Output Level */
  HAL_GPIO_WritePin(GPIOC, GPIO_PIN_13, GPIO_PIN_RESET);

  /*Configure GPIO pin : PC13 */
  GPIO_InitStruct.Pin = GPIO_PIN_13;
  GPIO_InitStruct.Mode = GPIO_MODE_OUTPUT_PP;
  GPIO_InitStruct.Pull = GPIO_NOPULL;
  GPIO_InitStruct.Speed = GPIO_SPEED_FREQ_LOW;
  HAL_GPIO_Init(GPIOC, &GPIO_InitStruct);

}

void Error_Handler(void)
{
  __disable_irq();
  while (1)
  {
  }
}
